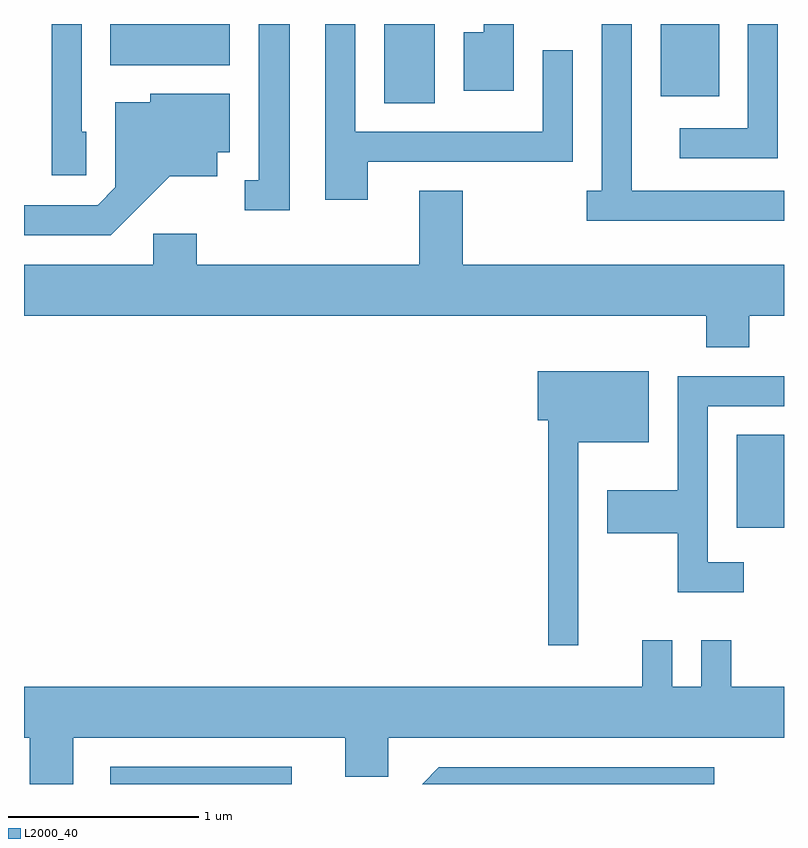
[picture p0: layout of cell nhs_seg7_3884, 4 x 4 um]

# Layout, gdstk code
import gdstk
lib = gdstk.Library(unit=1e-6, precision=1e-09)
def R(c, l, rs):  # rectangles x0, y0, x1, y1
    for r in rs: c.add(gdstk.rectangle(r[:2], r[2:], *l))
def P(c, l, *ps):  # polygons
    for p in ps: c.add(gdstk.Polygon(p, *l))
L2000_40 = (2000, 40)

nhs_seg7_3884 = lib.new_cell('nhs_seg7_3884')
R(nhs_seg7_3884, L2000_40, [(304.066,1756.252,305.019,1756.344), (307.361,1757.601,307.611,1758.089), (305.506,1759.836,305.774,1760.252), (306.961,1759.871,307.269,1760.252), (304.066,1760.036,304.694,1760.252)])
P(nhs_seg7_3884, L2000_40, [(303.939,1759.684),(303.914,1759.684),(303.914,1760.252),(303.756,1760.252),(303.756,1759.456),(303.939,1759.456)],
  [(307.611,1759.374),(306.809,1759.374),(306.809,1760.252),(306.651,1760.252),(306.651,1759.374),(306.573,1759.374),(306.573,1759.216),(307.611,1759.216)],
  [(305.419,1759.526),(306.499,1759.526),(306.499,1760.113),(306.341,1760.113),(306.341,1759.684),(305.354,1759.684),(305.354,1760.252),(305.196,1760.252),(305.196,1759.326),(305.419,1759.326)],
  [(305.009,1760.252),(304.846,1760.252),(304.846,1759.429),(304.773,1759.429),(304.773,1759.271),(305.009,1759.271)],
  [(306.189,1760.252),(306.031,1760.252),(306.031,1760.209),(305.926,1760.209),(305.926,1759.901),(306.189,1759.901)],
  [(307.579,1760.252),(307.421,1760.252),(307.421,1759.704),(307.063,1759.704),(307.063,1759.546),(307.579,1759.546)],
  [(304.377,1759.451),(304.629,1759.451),(304.629,1759.576),(304.694,1759.576),(304.694,1759.884),(304.276,1759.884),(304.276,1759.839),(304.091,1759.839),(304.091,1759.392),(303.999,1759.299),(303.611,1759.299),(303.611,1759.141),(304.067,1759.141)],
  [(307.429,1758.716),(307.611,1758.716),(307.611,1758.984),(305.919,1758.984),(305.919,1759.374),(305.691,1759.374),(305.691,1758.984),(304.519,1758.984),(304.519,1759.149),(304.291,1759.149),(304.291,1758.984),(303.611,1758.984),(303.611,1758.716),(307.201,1758.716),(307.201,1758.551),(307.429,1758.551)],
  [(306.529,1758.051),(306.899,1758.051),(306.899,1758.424),(306.316,1758.424),(306.316,1758.166),(306.371,1758.166),(306.371,1756.983),(306.529,1756.983)],
  [(307.398,1757.419),(307.209,1757.419),(307.209,1758.241),(307.611,1758.241),(307.611,1758.399),(307.051,1758.399),(307.051,1757.799),(306.681,1757.799),(306.681,1757.571),(307.051,1757.571),(307.051,1757.261),(307.398,1757.261)],
  [(303.869,1756.496),(305.301,1756.496),(305.301,1756.291),(305.529,1756.291),(305.529,1756.496),(307.611,1756.496),(307.611,1756.764),(307.334,1756.764),(307.334,1757.008),(307.176,1757.008),(307.176,1756.764),(307.024,1756.764),(307.024,1757.008),(306.866,1757.008),(306.866,1756.764),(303.611,1756.764),(303.611,1756.496),(303.641,1756.496),(303.641,1756.252),(303.869,1756.252)],
  [(307.244,1756.339),(305.794,1756.339),(305.707,1756.252),(307.244,1756.252)])

lib.write_gds('nhs_seg7_3884.gds')
